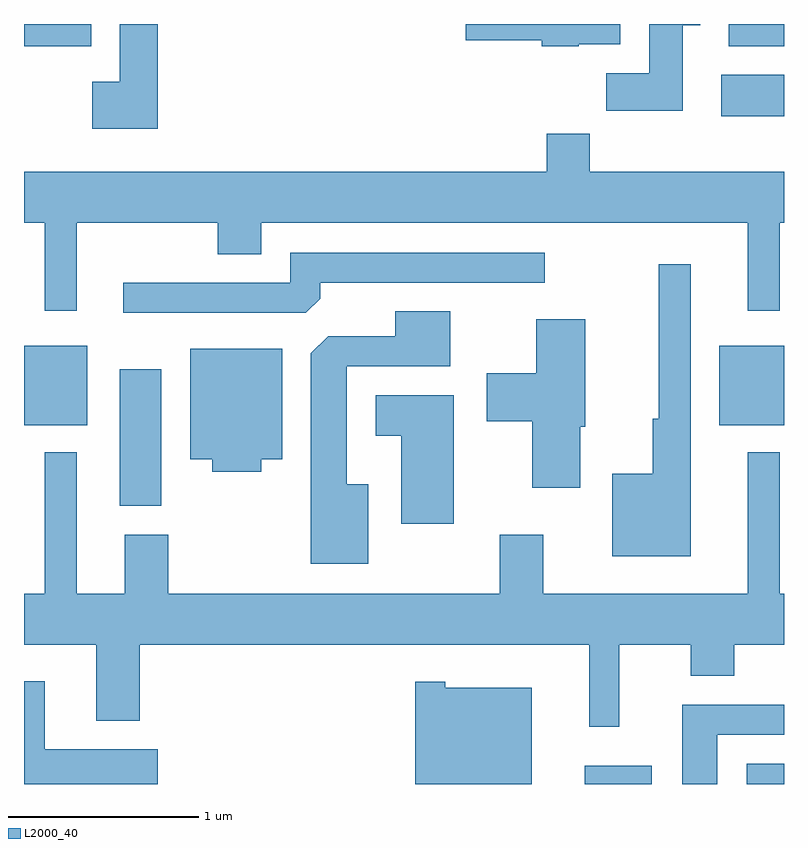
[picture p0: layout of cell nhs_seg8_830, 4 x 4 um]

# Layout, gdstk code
import gdstk
lib = gdstk.Library(unit=1e-6, precision=1e-09)
def R(c, l, rs):  # rectangles x0, y0, x1, y1
    for r in rs: c.add(gdstk.rectangle(r[:2], r[2:], *l))
def P(c, l, *ps):  # polygons
    for p in ps: c.add(gdstk.Polygon(p, *l))
L2000_40 = (2000, 40)

nhs_seg8_830 = lib.new_cell('nhs_seg8_830')
R(nhs_seg8_830, L2000_40, [(212.561,1842.342,212.914,1842.439), (213.416,1842.342,213.611,1842.449), (210.116,1843.806,210.334,1844.524), (209.611,1844.231,209.944,1844.649), (213.271,1844.231,213.611,1844.649), (213.281,1845.856,213.611,1846.074), (209.611,1846.226,209.964,1846.342), (213.321,1846.226,213.611,1846.342)])
P(nhs_seg8_830, L2000_40, [(212.53,1846.236),(212.749,1846.236),(212.749,1846.342),(211.936,1846.342),(211.936,1846.256),(212.336,1846.256),(212.336,1846.226),(212.53,1846.226)],
  [(213.079,1846.336),(213.169,1846.336),(213.169,1846.342),(212.901,1846.342),(212.901,1846.084),(212.676,1846.084),(212.676,1845.886),(213.079,1845.886)],
  [(210.314,1846.342),(210.116,1846.342),(210.116,1846.039),(209.971,1846.039),(209.971,1845.791),(210.314,1845.791)],
  [(209.889,1845.296),(210.631,1845.296),(210.631,1845.131),(210.859,1845.131),(210.859,1845.296),(213.421,1845.296),(213.421,1844.833),(213.589,1844.833),(213.589,1845.296),(213.611,1845.296),(213.611,1845.564),(212.589,1845.564),(212.589,1845.764),(212.361,1845.764),(212.361,1845.564),(209.611,1845.564),(209.611,1845.296),(209.721,1845.296),(209.721,1844.833),(209.889,1844.833)],
  [(211.169,1844.897),(211.169,1844.981),(212.353,1844.981),(212.353,1845.139),(211.011,1845.139),(211.011,1844.979),(210.133,1844.979),(210.133,1844.821),(211.094,1844.821)],
  [(213.119,1845.078),(212.951,1845.078),(212.951,1844.264),(212.921,1844.264),(212.921,1843.974),(212.706,1843.974),(212.706,1843.541),(213.119,1843.541)],
  [(211.424,1843.919),(211.309,1843.919),(211.309,1844.541),(211.854,1844.541),(211.854,1844.829),(211.566,1844.829),(211.566,1844.699),(211.212,1844.699),(211.121,1844.609),(211.121,1843.501),(211.424,1843.501)],
  [(212.539,1844.221),(212.564,1844.221),(212.564,1844.789),(212.306,1844.789),(212.306,1844.504),(212.046,1844.504),(212.046,1844.251),(212.286,1844.251),(212.286,1843.901),(212.539,1843.901)],
  [(210.859,1844.051),(210.969,1844.051),(210.969,1844.634),(210.486,1844.634),(210.486,1844.051),(210.601,1844.051),(210.601,1843.986),(210.859,1843.986)],
  [(211.874,1844.389),(211.461,1844.389),(211.461,1844.176),(211.596,1844.176),(211.596,1843.711),(211.874,1843.711)],
  [(212.744,1843.076),(213.121,1843.076),(213.121,1842.911),(213.349,1842.911),(213.349,1843.076),(213.611,1843.076),(213.611,1843.344),(213.589,1843.344),(213.589,1844.088),(213.421,1844.088),(213.421,1843.344),(212.344,1843.344),(212.344,1843.654),(212.116,1843.654),(212.116,1843.344),(210.369,1843.344),(210.369,1843.654),(210.141,1843.654),(210.141,1843.344),(209.889,1843.344),(209.889,1844.088),(209.721,1844.088),(209.721,1843.344),(209.611,1843.344),(209.611,1843.076),(209.991,1843.076),(209.991,1842.676),(210.219,1842.676),(210.219,1843.076),(212.586,1843.076),(212.586,1842.643),(212.744,1842.643)],
  [(210.314,1842.524),(209.719,1842.524),(209.719,1842.884),(209.611,1842.884),(209.611,1842.342),(210.314,1842.342)],
  [(212.284,1842.849),(211.829,1842.849),(211.829,1842.879),(211.671,1842.879),(211.671,1842.342),(212.284,1842.342)],
  [(213.259,1842.601),(213.611,1842.601),(213.611,1842.759),(213.076,1842.759),(213.076,1842.342),(213.259,1842.342)])

lib.write_gds('nhs_seg8_830.gds')
